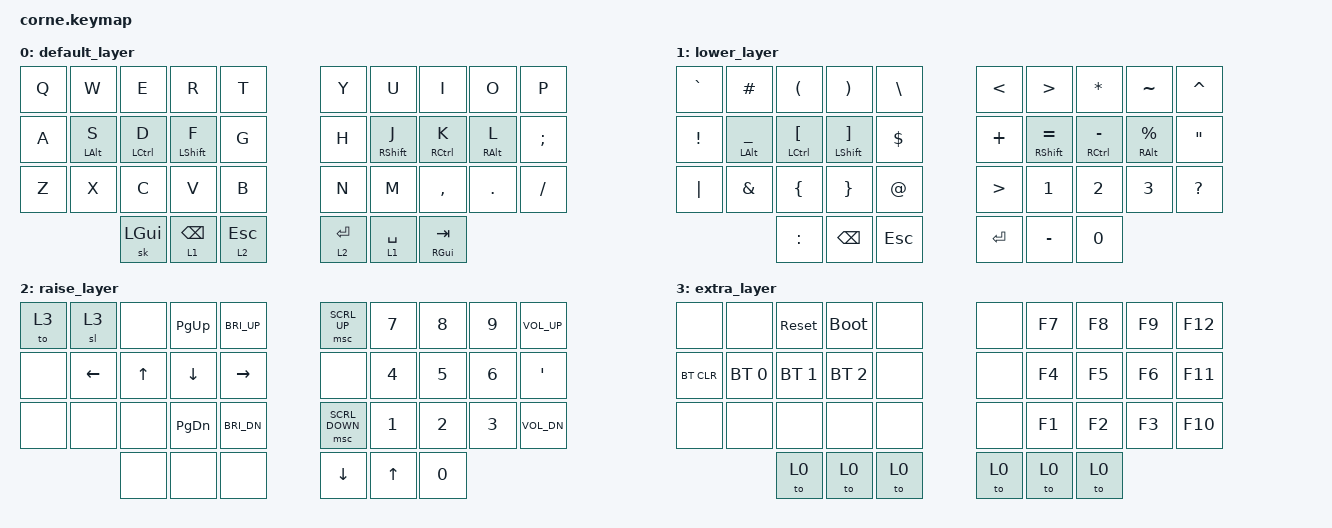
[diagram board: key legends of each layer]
/*
 * Copyright (c) 2020 The ZMK Contributors
 *
 * SPDX-License-Identifier: MIT
 */

#define ZMK_POINTING_DEFAULT_SCRL_VAL 10

#include <behaviors.dtsi>
#include <dt-bindings/zmk/keys.h>
#include <dt-bindings/zmk/bt.h>
#include <dt-bindings/zmk/pointing.h>

&mt {
	flavor = "balanced";
	tapping-term-ms = <200>;
	quick-tap-ms = <175>;
};

&msc {
	acceleration-exponent = <1>;
	time-to-max-speed-ms = <300>;
	delay-ms = <0>;
};

/ {
        chosen {                                
            zmk,matrix_transform = &five_column_transform;                       
        };                                      
        keymap {
                compatible = "zmk,keymap";

                default_layer {
                        bindings = <
&kp Q	&kp W		&kp E		&kp R		&kp T		&kp Y		&kp U		&kp I		&kp O		&kp P   
&kp A	&mt LALT S	&mt LCTRL D	&mt LSHFT F	&kp G		&kp H		&mt RSHFT J	&mt RCTRL K	&mt RALT L	&kp SEMI
&kp Z	&kp X		&kp C		&kp V		&kp B		&kp N		&kp M		&kp COMMA	&kp DOT		&kp FSLH
		&sk LGUI	&lt 1 BSPC	&lt 2 ESC				&lt 2 RET	&lt 1 SPACE	&mt RGUI TAB
                        >;
                };
                lower_layer {
                        bindings = <
&kp GRAVE	&kp HASH	   &kp LPAR		  &kp RPAR       &kp BSLH		&kp LT	 &kp GT			 &kp ASTRK		 &kp TILDE	   &kp CARET
&kp EXCL	&mt LALT UNDER &mt LCTRL LBKT &mt LSHFT RBKT &kp DLLR		&kp PLUS &mt RSHFT EQUAL &mt RCTRL MINUS &mt RALT PRCNT &kp DQT
&kp PIPE	&kp AMPS	   &kp LBRC		  &kp RBRC		 &kp AT			&kp GT	 &kp N1			 &kp N2			 &kp N3		   &kp QMARK
						   &kp COLON	  &kp BSPC		 &kp ESC		&kp RET	 &kp MINUS		 &kp N0
                        >;
                };
                raise_layer {
                        bindings = <
&to 3	&sl 3		&none	&kp PG_UP	&kp C_BRI_UP		&msc SCRL_UP		&kp N7	&kp N8	&kp N9	&kp K_VOL_UP
&none	&kp LEFT	&kp UP	&kp DOWN	&kp RIGHT			&none				&kp N4	&kp N5	&kp N6	&kp APOS
&none	&none		&none	&kp PG_DN	&kp C_BRI_DN		&msc SCRL_DOWN		&kp N1	&kp N2	&kp N3	&kp K_VOL_DN
					&none	&none		&none				&kp DOWN			&kp UP	&kp N0
                        >;
                };
                extra_layer {
                        bindings = <
&none		&none			&sys_reset		&bootloader		&none			&none	&kp F7	&kp F8	&kp F9	&kp F12
&bt BT_CLR	&bt BT_SEL 0	&bt BT_SEL 1	&bt BT_SEL 2	&none			&none	&kp F4	&kp F5	&kp F6	&kp F11
&none		&none			&none			&none			&none			&none	&kp F1	&kp F2	&kp F3	&kp F10
							&to 0			&to 0			&to 0			&to 0	&to 0	&to 0
                        >;
                };
        };
};
